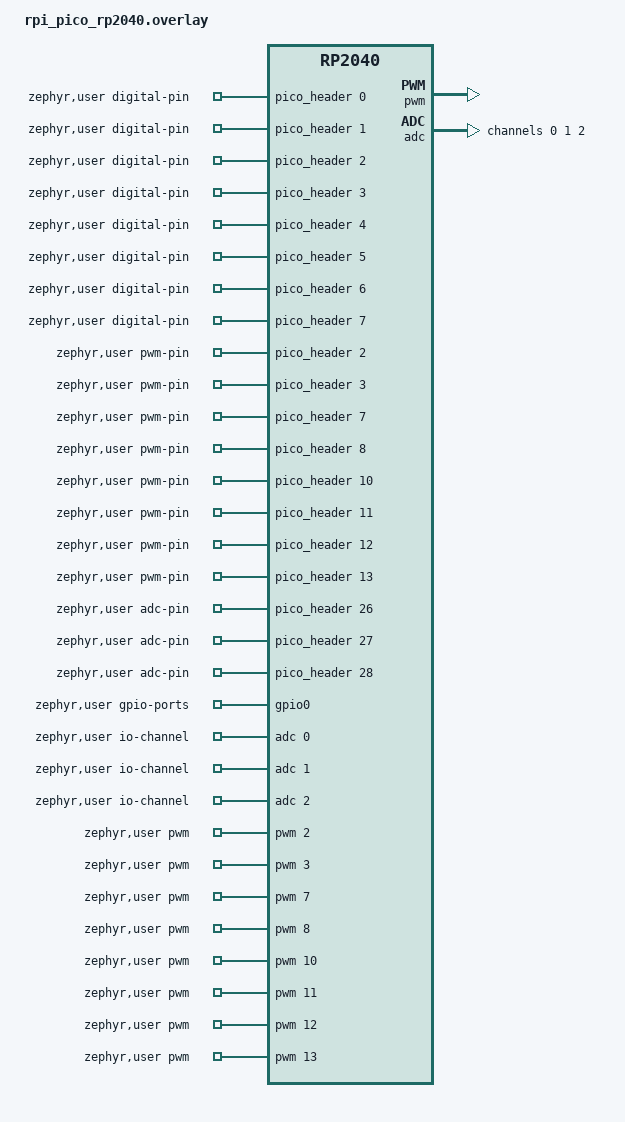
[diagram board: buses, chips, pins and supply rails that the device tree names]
/*
 * Copyright (c) 2024 TOKITA Hiroshi
 *
 * SPDX-License-Identifier: Apache-2.0
 */

#include <zephyr/dt-bindings/adc/adc.h>

/ {
	zephyr,user {
		digital-pin-gpios = <&pico_header 0 0>,
				    <&pico_header 1 0>,
				    <&pico_header 2 0>,
				    <&pico_header 3 0>,
				    <&pico_header 4 0>,
				    <&pico_header 5 0>,
				    <&pico_header 6 0>,
				    <&pico_header 7 0>,
				    <&pico_header 8 0>,
				    <&pico_header 9 0>,
				    <&pico_header 10 0>,
				    <&pico_header 11 0>,
				    <&pico_header 12 0>,
				    <&pico_header 13 0>,
				    <&pico_header 14 0>,
				    <&pico_header 15 0>,
				    <&pico_header 16 0>,
				    <&pico_header 17 0>,
				    <&pico_header 18 0>,
				    <&pico_header 19 0>,
				    <&pico_header 20 0>,
				    <&pico_header 21 0>,
				    <&pico_header 22 0>,
				    <&gpio0 23 0>,
				    <&gpio0 24 0>,
				    <&gpio0 25 0>,
				    <&pico_header 26 0>,
				    <&pico_header 27 0>,
				    <&pico_header 28 0>;

		pwm-pin-gpios =     <&pico_header 2 0>,
				    <&pico_header 3 0>,
				    <&pico_header 7 0>,
				    <&pico_header 8 0>,
				    <&pico_header 10 0>,
				    <&pico_header 11 0>,
				    <&pico_header 12 0>,
				    <&pico_header 13 0>,
				    <&pico_header 14 0>,
				    <&pico_header 15 0>,
				    <&pico_header 20 0>,
				    <&pico_header 21 0>,
				    <&pico_header 22 0>,
				    <&gpio0 25 0>;

		adc-pin-gpios =     <&pico_header 26 0>,
				    <&pico_header 27 0>,
				    <&pico_header 28 0>;

		pwms =  <&pwm 2 255 PWM_POLARITY_NORMAL>,
			<&pwm 3 255 PWM_POLARITY_NORMAL>,
			<&pwm 7 255 PWM_POLARITY_NORMAL>,
			<&pwm 8 255 PWM_POLARITY_NORMAL>,
			<&pwm 10 255 PWM_POLARITY_NORMAL>,
			<&pwm 11 255 PWM_POLARITY_NORMAL>,
			<&pwm 12 255 PWM_POLARITY_NORMAL>,
			<&pwm 13 255 PWM_POLARITY_NORMAL>,
			<&pwm 14 255 PWM_POLARITY_NORMAL>,
			<&pwm 15 255 PWM_POLARITY_NORMAL>,
			<&pwm 4 255 PWM_POLARITY_NORMAL>,
			<&pwm 5 255 PWM_POLARITY_NORMAL>,
			<&pwm 6 255 PWM_POLARITY_NORMAL>,
			<&pwm 9 255 PWM_POLARITY_NORMAL>;

		io-channels =   <&adc 0>,
				<&adc 1>,
				<&adc 2>;

		gpio-ports = <&gpio0>;
		serials = <&pico_serial>;
		i2cs = <&pico_i2c0>;
		spis = <&pico_spi>;
	};
};

&pinctrl {
	pwm_ch1a_default: pwm_ch1a_default {
		group1 {
			pinmux = <PWM_1A_P2>;
		};
	};

	pwm_ch1b_default: pwm_ch1b_default {
		group1 {
			pinmux = <PWM_1B_P3>;
		};
	};

	pwm_ch2a_default: pwm_ch2a_default {
		group1 {
			pinmux = <PWM_2A_P20>;
		};
	};

	pwm_ch2b_default: pwm_ch2b_default {
		group1 {
			pinmux = <PWM_2B_P21>;
		};
	};

	pwm_ch3a_default: pwm_ch3a_default {
		group1 {
			pinmux = <PWM_3A_P22>;
		};
	};

	pwm_ch3b_default: pwm_ch3b_default {
		group1 {
			pinmux = <PWM_3B_P7>;
		};
	};

	pwm_ch4a_default: pwm_ch4a_default {
		group1 {
			pinmux = <PWM_4A_P8>;
		};
	};

	pwm_ch5a_default: pwm_ch5a_default {
		group1 {
			pinmux = <PWM_5A_P10>;
		};
	};

	pwm_ch5b_default: pwm_ch5b_default {
		group1 {
			pinmux = <PWM_5B_P11>;
		};
	};

	pwm_ch6a_default: pwm_ch6a_default {
		group1 {
			pinmux = <PWM_6A_P12>;
		};
	};

	pwm_ch6b_default: pwm_ch6b_default {
		group1 {
			pinmux = <PWM_6B_P13>;
		};
	};

	pwm_ch7a_default: pwm_ch7a_default {
		group1 {
			pinmux = <PWM_7A_P14>;
		};
	};

	pwm_ch7b_default: pwm_ch7b_default {
		group1 {
			pinmux = <PWM_7B_P15>;
		};
	};
};

&pwm {
	status = "okay";
	divider-frac-4 = <15>;
	divider-int-4 = <255>;
};

&adc {
	#address-cells = <1>;
	#size-cells = <0>;

	channel@0 {
		reg = <0>;
		zephyr,gain = "ADC_GAIN_1";
		zephyr,reference = "ADC_REF_INTERNAL";
		zephyr,acquisition-time = <ADC_ACQ_TIME_DEFAULT>;
		zephyr,resolution = <12>;
	};

	channel@1 {
		reg = <1>;
		zephyr,gain = "ADC_GAIN_1";
		zephyr,reference = "ADC_REF_INTERNAL";
		zephyr,acquisition-time = <ADC_ACQ_TIME_DEFAULT>;
		zephyr,resolution = <12>;
	};

	channel@2 {
		reg = <2>;
		zephyr,gain = "ADC_GAIN_1";
		zephyr,reference = "ADC_REF_INTERNAL";
		zephyr,acquisition-time = <ADC_ACQ_TIME_DEFAULT>;
		zephyr,resolution = <12>;
	};
};
